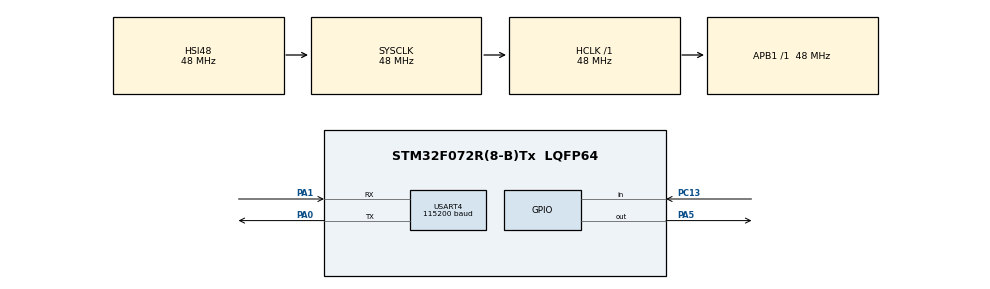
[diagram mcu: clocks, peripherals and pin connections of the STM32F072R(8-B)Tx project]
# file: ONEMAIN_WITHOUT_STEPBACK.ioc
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Mcu.Family=STM32F0
Mcu.Name=STM32F072R(8-B)Tx
Mcu.Package=LQFP64
PA0.Mode=Asynchronous
PA0.Signal=USART4_TX
PA1.Mode=Asynchronous
PA1.Signal=USART4_RX
PA5.Signal=GPIO_Output
PC13.Signal=GPIO_Input
PF0-OSC_IN.Mode=HSE-External-Oscillator
PF0-OSC_IN.Signal=RCC_OSC_IN
PF1-OSC_OUT.Mode=HSE-External-Oscillator
PF1-OSC_OUT.Signal=RCC_OSC_OUT
ProjectManager.HeapSize=0x200
ProjectManager.StackSize=0x400
ProjectManager.TargetToolchain=MDK-ARM V5.27
RCC.AHBFreq_Value=48000000
RCC.APB1Freq_Value=48000000
RCC.APB1TimFreq_Value=48000000
RCC.FLatency-AdvancedSettings=FLASH_LATENCY_1
RCC.HCLKFreq_Value=48000000
RCC.PLLDivider=RCC_PREDIV_DIV2
RCC.PLLMUL=RCC_PLL_MUL12
RCC.PREFETCH_ENABLE-AdvancedSettings=1
RCC.SYSCLKFreq_VALUE=48000000
RCC.SYSCLKSource=RCC_SYSCLKSOURCE_HSI48
TIM16.Prescaler=48000 - 1
USART4.BaudRate=115200
USART4.VirtualMode-Asynchronous=VM_ASYNC
VP_TIM16_VS_ClockSourceINT.Mode=Enable_Timer
board=NUCLEO-F072RB

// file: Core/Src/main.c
/* USER CODE BEGIN Header */
/**
  ******************************************************************************
  * @file           : main.c
  * @brief          : Main program body
  ******************************************************************************
  * @attention
  *
  * <h2><center>&copy; Copyright (c) 2020 STMicroelectronics.
  * All rights reserved.</center></h2>
  *
  * This software component is licensed by ST under BSD 3-Clause license,
  * the "License"; You may not use this file except in compliance with the
  * License. You may obtain a copy of the License at:
  *                        opensource.org/licenses/BSD-3-Clause
  *
  ******************************************************************************
  */
/* USER CODE END Header */
#include "main.h"

/* USER CODE BEGIN Includes */
#include <stdbool.h>
/* USER CODE END Includes */

/* USER CODE BEGIN PD */

#define LATENCY 50u				//Time in ms for Delay to prevent Contact Bounce
#define ONE_SEC 1000u			//Time of one second in ms
#define TIME_OUT 200u 		//Time in ms for Transmit data through UART

/* USER CODE END PD */

TIM_HandleTypeDef htim16;

UART_HandleTypeDef huart4;

void SystemClock_Config(void);
static void MX_GPIO_Init(void);
static void MX_TIM16_Init(void);
static void MX_USART4_UART_Init(void);

int main(void)
{
  /* USER CODE BEGIN 1 */

	uint16_t press_time;				// Number of Timer ticks when button press
	uint16_t release_time;		  // Number of Timer ticks betweeh current Timer ticks and press_time
	bool status = false;				  // Represent if button pressed or not
	char str[6];								// Array for output text
	int str_length;							// Length of output text

  /* USER CODE END 1 */

  /* MCU Configuration--------------------------------------------------------*/

  /* Reset of all peripherals, Initializes the Flash interface and the Systick. */
  HAL_Init();

  /* Configure the system clock */
  SystemClock_Config();

  /* Initialize all configured peripherals */
  MX_GPIO_Init();
  MX_TIM16_Init();
  MX_USART4_UART_Init();
  /* USER CODE BEGIN 2 */

	HAL_TIM_Base_Start(&htim16);

  /* USER CODE END 2 */

  /* Infinite loop */
  while (1)
  {

    /* USER CODE BEGIN 3 */

		if (HAL_GPIO_ReadPin(GPIOC, GPIO_PIN_13) == GPIO_PIN_SET && status)
		{
			/*--Use Delay for preveting Contact Bounce----*/
			HAL_Delay(LATENCY);

			/*--Is after delay Button has RELEASED status-*/
			if (HAL_GPIO_ReadPin(GPIOC, GPIO_PIN_13))
			{
				/*--Timer ticks between Release and Press(ms)*/
				release_time = __HAL_TIM_GET_COUNTER(&htim16) - press_time + LATENCY * 2;

				/*--If release_time greather than one second-*/
				/*--For accurate measure of time, minus------*/
				/*------------Delay bias---------------------*/
				if (ONE_SEC <= release_time)
				{
						/*------Sprintf copy text into str------*/
						/*----and return length of that text----*/
						str_length = sprintf(str, "%usec\r\n", release_time / ONE_SEC);

						/*------Send text to UART---------------*/
						HAL_UART_Transmit(&huart4, str, str_length, TIME_OUT);
				}

				/*---------Set Button Status release--------*/
				status = false;
			}
		}
		else if (HAL_GPIO_ReadPin(GPIOC, GPIO_PIN_13) == GPIO_PIN_RESET && status == false)
		{
			/*--Use Delay for preveting Contact Bounce----*/
			HAL_Delay(LATENCY);

			/*--If after delay Button has PRESSED status-*/
			if (HAL_GPIO_ReadPin(GPIOC, GPIO_PIN_13) == GPIO_PIN_RESET)
			{
				/*--Timer ticks in Press moment(ms)---------*/
				press_time = __HAL_TIM_GET_COUNTER(&htim16);

				/*---------Set Button Status press--------*/
				status = true;
			}
		}

  }
  /* USER CODE END 3 */
}

void SystemClock_Config(void)
{
  RCC_OscInitTypeDef RCC_OscInitStruct = {0};
  RCC_ClkInitTypeDef RCC_ClkInitStruct = {0};

  /** Initializes the RCC Oscillators according to the specified parameters
  * in the RCC_OscInitTypeDef structure.
  */
  RCC_OscInitStruct.OscillatorType = RCC_OSCILLATORTYPE_HSI48;
  RCC_OscInitStruct.HSI48State = RCC_HSI48_ON;
  RCC_OscInitStruct.PLL.PLLState = RCC_PLL_NONE;
  if (HAL_RCC_OscConfig(&RCC_OscInitStruct) != HAL_OK)
  {
    Error_Handler();
  }
  /** Initializes the CPU, AHB and APB buses clocks
  */
  RCC_ClkInitStruct.ClockType = RCC_CLOCKTYPE_HCLK|RCC_CLOCKTYPE_SYSCLK
                              |RCC_CLOCKTYPE_PCLK1;
  RCC_ClkInitStruct.SYSCLKSource = RCC_SYSCLKSOURCE_HSI48;
  RCC_ClkInitStruct.AHBCLKDivider = RCC_SYSCLK_DIV1;
  RCC_ClkInitStruct.APB1CLKDivider = RCC_HCLK_DIV1;

  if (HAL_RCC_ClockConfig(&RCC_ClkInitStruct, FLASH_LATENCY_1) != HAL_OK)
  {
    Error_Handler();
  }
}

static void MX_TIM16_Init(void)
{

  htim16.Instance = TIM16;
  htim16.Init.Prescaler = 48000 - 1;
  htim16.Init.CounterMode = TIM_COUNTERMODE_UP;
  htim16.Init.Period = 65535;
  htim16.Init.ClockDivision = TIM_CLOCKDIVISION_DIV1;
  htim16.Init.RepetitionCounter = 0;
  htim16.Init.AutoReloadPreload = TIM_AUTORELOAD_PRELOAD_DISABLE;
  if (HAL_TIM_Base_Init(&htim16) != HAL_OK)
  {
    Error_Handler();
  }

}

static void MX_USART4_UART_Init(void)
{

  huart4.Instance = USART4;
  huart4.Init.BaudRate = 115200;
  huart4.Init.WordLength = UART_WORDLENGTH_8B;
  huart4.Init.StopBits = UART_STOPBITS_1;
  huart4.Init.Parity = UART_PARITY_NONE;
  huart4.Init.Mode = UART_MODE_TX_RX;
  huart4.Init.HwFlowCtl = UART_HWCONTROL_NONE;
  huart4.Init.OverSampling = UART_OVERSAMPLING_16;
  huart4.Init.OneBitSampling = UART_ONE_BIT_SAMPLE_DISABLE;
  huart4.AdvancedInit.AdvFeatureInit = UART_ADVFEATURE_NO_INIT;
  if (HAL_UART_Init(&huart4) != HAL_OK)
  {
    Error_Handler();
  }

}

static void MX_GPIO_Init(void)
{
  GPIO_InitTypeDef GPIO_InitStruct = {0};

  /* GPIO Ports Clock Enable */
  __HAL_RCC_GPIOC_CLK_ENABLE();
  __HAL_RCC_GPIOF_CLK_ENABLE();
  __HAL_RCC_GPIOA_CLK_ENABLE();

  /*Configure GPIO pin Output Level */
  HAL_GPIO_WritePin(GPIOA, GPIO_PIN_5, GPIO_PIN_RESET);

  /*Configure GPIO pin : PC13 */
  GPIO_InitStruct.Pin = GPIO_PIN_13;
  GPIO_InitStruct.Mode = GPIO_MODE_INPUT;
  GPIO_InitStruct.Pull = GPIO_NOPULL;
  HAL_GPIO_Init(GPIOC, &GPIO_InitStruct);

  /*Configure GPIO pin : PA5 */
  GPIO_InitStruct.Pin = GPIO_PIN_5;
  GPIO_InitStruct.Mode = GPIO_MODE_OUTPUT_PP;
  GPIO_InitStruct.Pull = GPIO_NOPULL;
  GPIO_InitStruct.Speed = GPIO_SPEED_FREQ_LOW;
  HAL_GPIO_Init(GPIOA, &GPIO_InitStruct);

}

void Error_Handler(void)
{
}

/************************ (C) COPYRIGHT STMicroelectronics *****END OF FILE****/
